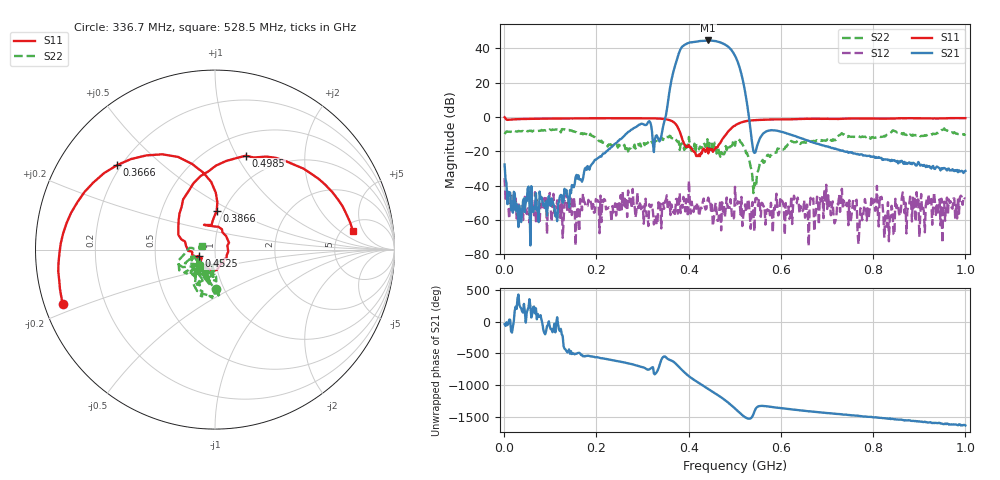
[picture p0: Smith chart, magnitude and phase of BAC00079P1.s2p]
!measured: 2026-10-27T14:48:59
!cal_instance: BBtestOct27
!cal_created: 2026-10-27T14:45
!cal_file: BBtesting.cal
!port1_delay_ps: -58.63
!port2_delay_ps: -59.31
!host: dhcp-10-250-247-203.harvard.edu
! Created with skrf 2.1.0 (http://scikit-rf.org).
# Hz S RI R 50.0
!freq ReS11 ImS11 ReS21 ImS21 ReS12 ImS12 ReS22 ImS22
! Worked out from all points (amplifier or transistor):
!   501 points, 1 MHz to 1 GHz, reference 50 ohm
!   highest |S21| = 44.7 dB at 442.6 MHz (marker M1)
!   |S21| within 3 dB of that: 388.9 MHz to 482.4 MHz (93.49 MHz wide, 21.5 % of centre)
!   unconditionally stable (mu >= 1): start of sweep to 400.1 MHz; 401.7 MHz to 500.2 MHz; 500.8 MHz to end of sweep
!   at 166.8 MHz: K = 1624.91, MAG = -28.4 dB, |S12| = -50.0 dB
!   at 500.5 MHz: K = 0.84, MSG = 38.2 dB, |S12| = -40.7 dB
!   at 1 GHz: K = 557.99, MAG = -22.4 dB, |S12| = -47.6 dB
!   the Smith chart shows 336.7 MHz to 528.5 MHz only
!   S11 on the Smith chart (normalised r, x): 336.7 MHz: 0.05, -0.17; 366.6 MHz: 0.18, +0.36; 386.6 MHz: 0.93, +0.42; 452.5 MHz: 0.83, -0.06; 498.5 MHz: 0.73, +1.09; 528.5 MHz: 6.13, +3.23
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1000000  -0.3676 0.9124  0.0303 -0.0278  -0.00919 0.0139  0.3105 -0.0641
1.68832e8  0.49 -0.7693  -0.0127 -0.00292  -0.000674 0.00178  -0.0267 -0.3353
3.34666e8  -0.8356 -0.3424  0.2102 -0.0668  0.00299 -0.00133  0.000359 -0.2271
3.36664e8  -0.8494 -0.3024  0.176 0.0835  -0.00235 0.000936  0.00541 -0.2183
3.66634e8  -0.5444 0.4713  0.2777 20.33  0.00148 0.000701  -0.097 -0.2189
3.76624e8  -0.127 0.4768  54.68 21.62  0.00109 0.00106  -0.141 -0.1211
3.86614e8  0.00927 0.2144  72.44 -88.7  0.000593 0.00219  -0.1321 -0.0386
3.96604e8  -0.0251 0.1341  -65.84 -123.1  0.000988 0.00217  -0.0638 -0.1161
4.1059e8  0.0551 0.0817  -150 35.04  -0.00123 -0.00117  -0.0433 -0.1106
4.26574e8  0.0482 -0.0769  -5.568 165.3  0.00193 0.00121  -0.0599 -0.111
4.42558e8  -0.0753 -0.0442  161.5 56.68  -0.00354 -0.00273  -0.094 -0.0437
4.52548e8  -0.09 -0.035  150.2 -75.48  -0.000362 -0.000549  -0.0535 -0.1006
4.64536e8  -0.1492 -0.00746  16.41 -155.3  -0.000714 0.000616  -0.0203 -0.1172
4.78522e8  -0.1977 0.2013  -118.6 -53.81  0.00106 0.000469  0.00638 -0.0902
4.9051e8  -0.0369 0.4359  -68.88 68.8  0.00168 -0.00366  -0.0771 -0.1161
4.98502e8  0.1723 0.5231  7.488 68.48  -0.00102 0.000584  -0.1711 -0.1275
5.005e8  0.2167 0.5131  20.55 57.87  0.000668 -0.00918  -0.1124 -0.093
5.12488e8  0.5342 0.4241  22.04 -4.033  0.000772 0.00121  -0.1806 -0.0358
5.28472e8  0.7674 0.1053  0.0942 -1.65  0.0001 -0.00407  -0.0721 0.022
6.68332e8  0.0347 -0.8856  0.1699 0.0686  -0.00298 -0.00262  0.0235 -0.1893
8.34166e8  -0.6148 -0.6553  0.000492 -0.0568  -5.4e-05 0.000231  -0.2031 -0.2399
1e9  -0.8992 -0.2283  -0.0258 0.00732  -0.00375 -0.00185  -0.2679 -0.1764
